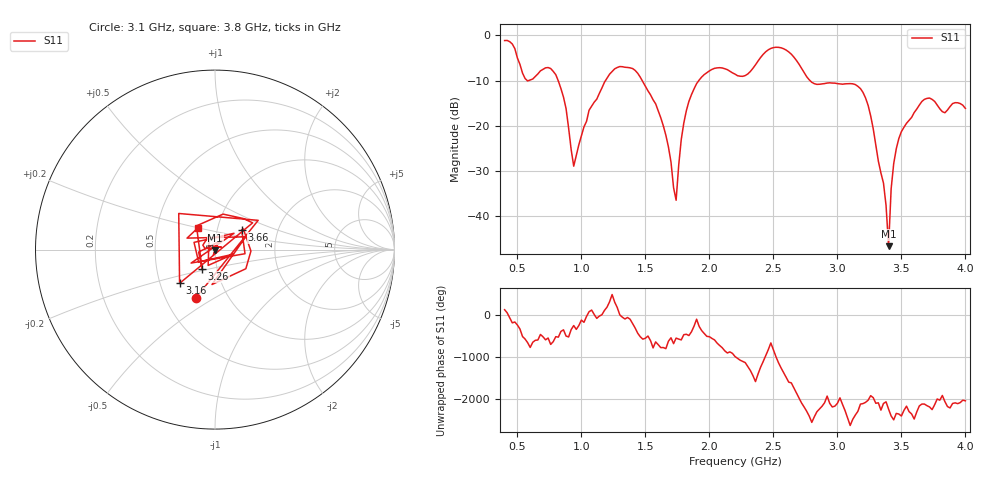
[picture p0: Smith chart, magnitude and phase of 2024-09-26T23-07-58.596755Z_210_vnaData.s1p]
!Created with skrf (http://scikit-rf.org).
# Hz S RI R 50.0
!freq ReS11 ImS11
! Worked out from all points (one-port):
!   181 points, 400 MHz to 4 GHz, reference 50 ohm
!   lowest |S11| = -46.7 dB at 3.4 GHz (marker M1), VSWR 1.01, Z = 50 - j0.461 ohm
!   |S11| at or under -10 dB: 818.3 MHz to 1.189 GHz (370.3 MHz wide, 36.9 % of centre); 1.475 GHz to 1.918 GHz (442.8 MHz wide, 26.1 % of centre); 2.785 GHz to end of sweep (the widest 3 of 4)
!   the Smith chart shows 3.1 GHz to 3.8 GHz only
!   S11 on the Smith chart (normalised r, x): 3.1 GHz: 0.70, -0.42; 3.16 GHz: 0.63, -0.26; 3.26 GHz: 0.85, -0.18; 3.66 GHz: 1.31, +0.30; 3.8 GHz: 0.80, +0.20
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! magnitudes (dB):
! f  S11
! 400 MHz  -1.2
! 560 MHz  -9.6
! 760 MHz  -7.4
! 860 MHz  -13.7
! 940 MHz  -29.0
! 1.06 GHz  -16.6
! 1.3 GHz  -6.9
! 1.58 GHz  -15.2
! 1.68 GHz  -24.7
! 1.74 GHz  -36.5
! 1.76 GHz  -28.8
! 1.82 GHz  -16.7
! 1.9 GHz  -10.7
! 2.2 GHz  -8.6
! 2.5 GHz  -2.7
! 2.66 GHz  -4.8
! 2.82 GHz  -10.7
! 3.1 GHz  -10.7
! 3.16 GHz  -11.3
! 3.26 GHz  -17.8
! 3.36 GHz  -32.7
! 3.4 GHz  -46.7
! 3.42 GHz  -34.0
! 3.44 GHz  -28.4
! 3.56 GHz  -18.8
! 3.66 GHz  -14.6
! 3.8 GHz  -16.3
! 4 GHz  -16.2
